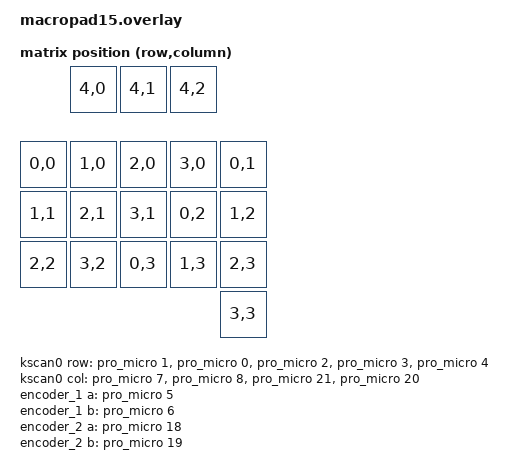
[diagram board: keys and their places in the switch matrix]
/*
 * Macropad 15 phim + 3 encoder EC11 - module Pro Micro RP2040
 *
 * So do phim (doc tu trai sang phai, tren xuong duoi), ten phim = c<cot>r<hang>:
 *
 *   c0r0  c0r1  c0r2  c0r3  c1r0
 *   c1r1  c1r2  c1r3  c2r0  c2r1
 *   c2r2  c2r3  c3r0  c3r1  c3r2
 *
 *   c3r3  = nut chuyen layer (&layer_cycle), dat canh c3r2 (vi tri vat ly chinh lai trong physical layout)
 *
 *   + 3 encoder (moi cai co nut nhan), nut nhan nam tren hang R4 cua ma tran.
 *
 * Ma tran 4 cot (C0-C3) x 5 hang (R0-R4), diode col2row (vach den cua diode
 * quay ve phia HANG: cong tac -> diode -> hang). Moi cong tac / nut nhan encoder
 * deu nen co 1 diode 1N4148 de khong bi ghosting.
 *   - C0..C3 la output, R0..R4 la input pull-down.
 *   - R0..R3: phim (c3r3 = nut layer cycle)
 *   - R4: nut nhan encoder: c0r4 = ENC1, c1r4 = ENC2, c2r4 = ENC3
 *
 * Gan chan (nhan Pro Micro -> GPIO RP2040):
 *
 *   C0 D7  GP7      R0 D1  GP1      ENC1 A D5  GP5
 *   C1 D8  GP8      R1 D0  GP0      ENC1 B D6  GP6
 *   C2 D21 GP29     R2 D2  GP2      ENC2 A D18 GP26
 *   C3 D20 GP28     R3 D3  GP3      ENC2 B D19 GP27
 *                   R4 D4  GP4      ENC3 A D15 GP22
 *                                   ENC3 B D16 GP23
 *
 * Con trong: D9, D10, D14 (khong dung).
 * Chan encoder A/B noi 1 chan vao GPIO, chan common noi GND, firmware bat pull-up.
 */

#include <dt-bindings/gpio/gpio.h>
#include <dt-bindings/zmk/matrix_transform.h>
#include <physical_layouts.dtsi>

/*
 * Tat I2C de giai phong cac chan D2/D3 (GP2/GP3) neu board bat I2C mac dinh tren do.
 * Khong dung I2C trong shield nay.
 */
&i2c0 {
    status = "disabled";
};

&i2c1 {
    status = "disabled";
};

/ {
    chosen {
        zmk,kscan = &kscan0;
        zmk,physical-layout = &physical_layout0;
    };

    kscan0: kscan {
        compatible = "zmk,kscan-gpio-matrix";
        diode-direction = "col2row";
        debounce-press-ms = <5>;
        debounce-release-ms = <5>;

        /* C0 .. C3 */
        col-gpios
            = <&pro_micro 7  GPIO_ACTIVE_HIGH>   /* C0 D7  GP7  */
            , <&pro_micro 8  GPIO_ACTIVE_HIGH>   /* C1 D8  GP8  */
            , <&pro_micro 21 GPIO_ACTIVE_HIGH>   /* C2 D21 GP29 */
            , <&pro_micro 20 GPIO_ACTIVE_HIGH>   /* C3 D20 GP28 */
            ;

        /* R0 .. R4 */
        row-gpios
            = <&pro_micro 1 (GPIO_ACTIVE_HIGH | GPIO_PULL_DOWN)>  /* R0 D1 GP1 */
            , <&pro_micro 0 (GPIO_ACTIVE_HIGH | GPIO_PULL_DOWN)>  /* R1 D0 GP0 */
            , <&pro_micro 2 (GPIO_ACTIVE_HIGH | GPIO_PULL_DOWN)>  /* R2 D2 GP2 */
            , <&pro_micro 3 (GPIO_ACTIVE_HIGH | GPIO_PULL_DOWN)>  /* R3 D3 GP3 */
            , <&pro_micro 4 (GPIO_ACTIVE_HIGH | GPIO_PULL_DOWN)>  /* R4 D4 GP4 */
            ;
    };

    /*
     * Thu tu vi tri phim (position 0..17) trong keymap:
     *   0..14  : 15 phim theo thu tu doc cua so do (hang tren -> duoi, trai -> phai)
     *   15     : c3r3 = nut layer cycle
     *   16..18 : nut nhan encoder 1, 2, 3
     */
    default_transform: keymap_transform_0 {
        compatible = "zmk,matrix-transform";
        columns = <4>;
        rows = <5>;
        map = <
            RC(0,0) RC(1,0) RC(2,0) RC(3,0) RC(0,1)   /* c0r0 c0r1 c0r2 c0r3 c1r0 */
            RC(1,1) RC(2,1) RC(3,1) RC(0,2) RC(1,2)   /* c1r1 c1r2 c1r3 c2r0 c2r1 */
            RC(2,2) RC(3,2) RC(0,3) RC(1,3) RC(2,3)   /* c2r2 c2r3 c3r0 c3r1 c3r2 */
            RC(3,3)                                   /* c3r3: nut layer cycle    */
            RC(4,0) RC(4,1) RC(4,2)                   /* nut nhan ENC1 ENC2 ENC3  */
        >;
    };

    /*
     * Physical layout cho ZMK Studio. Don vi: 1/100 phim.
     * Thu tu phai TRUNG KHOP voi map cua default_transform o tren.
     * Hang encoder dat o tren cung (giua 5 cot) - chinh lai x/y neu PCB cua ban khac.
     */
    physical_layout0: physical_layout_0 {
        compatible = "zmk,physical-layout";
        display-name = "Macropad15";
        transform = <&default_transform>;
        kscan = <&kscan0>;

        keys  //                     w    h    x    y    rot  rx   ry
            = <&key_physical_attrs 100 100    0  150      0   0    0>  /* c0r0 */
            , <&key_physical_attrs 100 100  100  150      0   0    0>  /* c0r1 */
            , <&key_physical_attrs 100 100  200  150      0   0    0>  /* c0r2 */
            , <&key_physical_attrs 100 100  300  150      0   0    0>  /* c0r3 */
            , <&key_physical_attrs 100 100  400  150      0   0    0>  /* c1r0 */

            , <&key_physical_attrs 100 100    0  250      0   0    0>  /* c1r1 */
            , <&key_physical_attrs 100 100  100  250      0   0    0>  /* c1r2 */
            , <&key_physical_attrs 100 100  200  250      0   0    0>  /* c1r3 */
            , <&key_physical_attrs 100 100  300  250      0   0    0>  /* c2r0 */
            , <&key_physical_attrs 100 100  400  250      0   0    0>  /* c2r1 */

            , <&key_physical_attrs 100 100    0  350      0   0    0>  /* c2r2 */
            , <&key_physical_attrs 100 100  100  350      0   0    0>  /* c2r3 */
            , <&key_physical_attrs 100 100  200  350      0   0    0>  /* c3r0 */
            , <&key_physical_attrs 100 100  300  350      0   0    0>  /* c3r1 */
            , <&key_physical_attrs 100 100  400  350      0   0    0>  /* c3r2 */

            , <&key_physical_attrs 100 100  400  450      0   0    0>  /* c3r3 layer cycle */

            , <&key_physical_attrs 100 100  100    0      0   0    0>  /* nut nhan ENC1 */
            , <&key_physical_attrs 100 100  200    0      0   0    0>  /* nut nhan ENC2 */
            , <&key_physical_attrs 100 100  300    0      0   0    0>  /* nut nhan ENC3 */
            ;
    };

    /*
     * 3 encoder EC11. Thu tu trong "sensors" = thu tu cac cap
     * binding trong sensor-bindings cua keymap (ENC1, ENC2, ENC3).
     * Neu xoay nguoc chieu: doi cho a-gpios va b-gpios, hoac doi thu tu CW/CCW trong keymap.
     * resolution = 4 cho loai co 4 xung / nac (pho bien). Neu 1 nac nhay 2 lan thi dat 2.
     */
    encoder_1: encoder_1 {
        compatible = "alps,ec11";
        a-gpios = <&pro_micro 5 (GPIO_ACTIVE_HIGH | GPIO_PULL_UP)>;   /* D5 GP5 */
        b-gpios = <&pro_micro 6 (GPIO_ACTIVE_HIGH | GPIO_PULL_UP)>;   /* D6 GP6 */
        resolution = <4>;
        status = "okay";
    };

    encoder_2: encoder_2 {
        compatible = "alps,ec11";
        a-gpios = <&pro_micro 18 (GPIO_ACTIVE_HIGH | GPIO_PULL_UP)>;  /* D18 GP26 */
        b-gpios = <&pro_micro 19 (GPIO_ACTIVE_HIGH | GPIO_PULL_UP)>;  /* D19 GP27 */
        resolution = <4>;
        status = "okay";
    };

    encoder_3: encoder_3 {
        compatible = "alps,ec11";
        a-gpios = <&pro_micro 15 (GPIO_ACTIVE_HIGH | GPIO_PULL_UP)>;  /* D15 GP22 */
        b-gpios = <&pro_micro 16 (GPIO_ACTIVE_HIGH | GPIO_PULL_UP)>;  /* D16 GP23 */
        resolution = <4>;
        status = "okay";
    };

    sensors: sensors {
        compatible = "zmk,keymap-sensors";
        sensors = <&encoder_1 &encoder_2 &encoder_3>;
        triggers-per-rotation = <20>;
    };

    behaviors {
        /* &layer_cycle : Numpad -> Media -> Nokia -> Numpad ... (bo qua layer FN) */
        layer_cycle: layer_cycle {
            compatible = "zmk,behavior-layer-cycle";
            #binding-cells = <0>;
            display-name = "Layer Cycle";
            cycle-layers = <0 1 2>;
        };
    };
};
